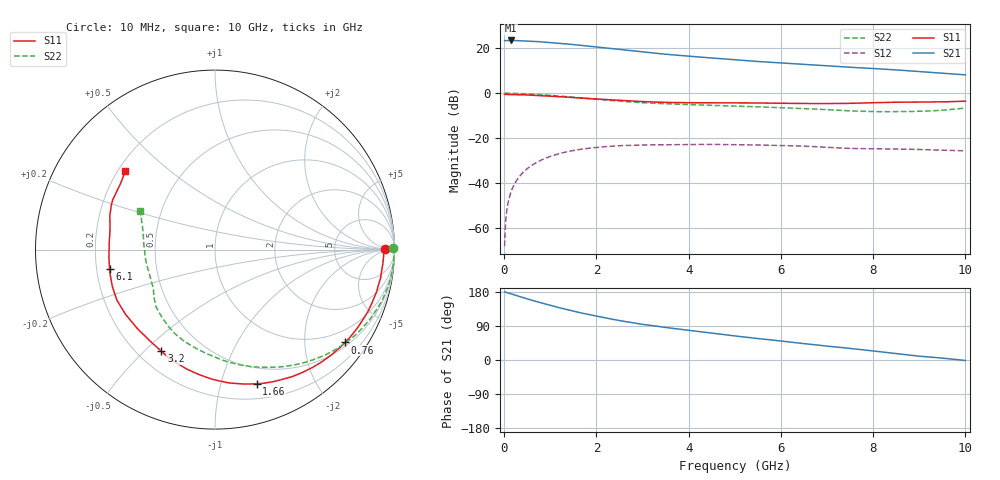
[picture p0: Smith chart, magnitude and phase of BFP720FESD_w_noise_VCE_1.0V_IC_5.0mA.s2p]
! Infineon Technologies  Discrete & RF Semiconductors
! BFP720FESD
! VCE =  1.0 V,  IC =  5.0 mA
! Common Emitter S-Parameters:  Jan 2016
# GHz  S  MA  R  50
!  f  S11  S21  S12  S22
! GHz  MAG  ANG  MAG  ANG  MAG  ANG  MAG  ANG
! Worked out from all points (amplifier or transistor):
!   233 points, 10 MHz to 10 GHz, reference 50 ohm
!   highest |S21| = 23.5 dB at 150 MHz (marker M1)
!   |S21| within 3 dB of that: start of sweep to 2.047 GHz
!   unconditionally stable (mu >= 1): 7.273 GHz to end of sweep
!   at 200 MHz: K = 0.02, MSG = 32.4 dB, |S12| = -41.3 dB
!   at 1.74 GHz: K = 0.19, MSG = 22.9 dB, |S12| = -24.7 dB
!   at 10 GHz: K = 1.51, MAG = 12.7 dB, |S12| = -25.6 dB
!   lowest NFmin = 0.52 dB at 450 MHz
!   S11 on the Smith chart (normalised r, x): 10 MHz: 35, +2; 760 MHz: 0.60, -3.01; 1.66 GHz: 0.34, -1.30; 3.2 GHz: 0.29, -0.56; 6.1 GHz: 0.25, -0.09; 10 GHz: 0.23, +0.36
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0.01  0.9453 0.2  14.73 179.8  0.0004 65.5  0.9892 0.6
0.045  0.9401 -2.2  14.75 178.3  0.002 92.7  0.9979 -1.5
0.15  0.9356 -7.3  14.88 174.5  0.0065 85.5  0.9965 -5.3
0.4  0.9235 -19.0  14.66 165.1  0.017 78.0  0.9802 -14.1
0.58  0.9081 -27.4  14.34 158.4  0.0242 72.5  0.9608 -20.2
0.76  0.8904 -35.5  13.95 152.3  0.0311 67.3  0.9372 -26.3
0.94  0.8706 -43.4  13.54 146.3  0.0374 62.1  0.9104 -32.2
1.2  0.84 -54.6  12.9 137.9  0.0457 55.1  0.8673 -40.6
1.4  0.8142 -62.8  12.35 131.8  0.051 49.8  0.8316 -46.7
1.66  0.7824 -72.7  11.63 124.4  0.0567 43.6  0.7869 -54.2
1.68  0.7799 -73.5  11.58 123.9  0.0571 43.2  0.7837 -54.8
2.02  0.7433 -84.9  10.61 115.2  0.0627 36.2  0.7313 -63.7
2.4  0.7035 -96.9  9.663 106.3  0.0673 29.2  0.6804 -73.2
2.82  0.6661 -109.0  8.677 97.5  0.0701 22.4  0.6326 -82.8
3.2  0.6402 -117.8  7.898 91.0  0.0711 17.7  0.6013 -89.5
3.4  0.6298 -122.2  7.528 87.5  0.0715 15.5  0.5885 -92.7
4.4  0.6143 -142.1  6.185 72.3  0.0729 6.4  0.5431 -106.8
5.1  0.6127 -154.2  5.437 62.1  0.0719 0.6  0.5151 -116.5
6.1  0.5974 -169.5  4.653 48.7  0.0687 -6.3  0.4741 -129.7
6.8  0.59 179.3  4.193 39.4  0.0645 -10.0  0.4422 -139.3
8.4  0.6293 156.5  3.347 18.3  0.0581 -10.3  0.3898 -168.1
10  0.6659 138.6  2.559 -1.3  0.0524 -11.2  0.4686 152.9
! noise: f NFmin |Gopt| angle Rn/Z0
0.45  0.52  0.56  4  0.15
2.4  0.64  0.36  32  0.16
5.5  0.83  0.39  106  0.11
10  1.39  0.32  -163  0.09
